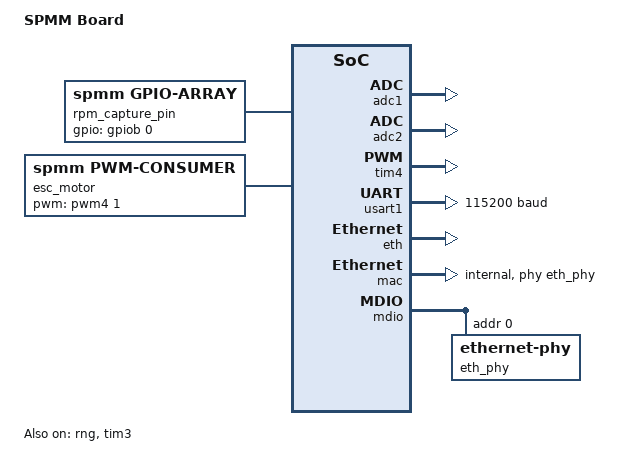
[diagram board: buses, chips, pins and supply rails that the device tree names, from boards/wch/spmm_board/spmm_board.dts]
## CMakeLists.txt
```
cmake_minimum_required(VERSION 3.20.0)
find_package(Zephyr REQUIRED HINTS $ENV{ZEPHYR_BASE})
project(SPMM)

# Aplicacao — threads diretas do Zephyr + shell nativo (SHELL_CMD_ARG_REGISTER),
# sem a camada OSSI/TCKEC/CMD da SIBA (SPMM e' provisorio: prioriza simplicidade).
target_sources(app PRIVATE
    src/main.c
    src/esc.c
    src/rpm.c
    src/acquisition.c
    src/telemetry.c
    src/shell_cmds.c
)

# Driver ADC out-of-tree — adicionado direto em `app` (linkado com
# --whole-archive) em vez de uma lib estatica separada. Uma lib separada nao
# entra na linha de link de zephyr_pre0.elf, entao o linker descarta
# adc_ch32v307.c e `adc1` acaba resolvendo para o driver upstream
# adc_ch32v00x.c (sincrono-only, sem .read_async → jalr por ponteiro NULL).
# Mesmo motivo/solucao da SIBA. Nao compila para native_sim (usa adc_emul).
if(NOT CONFIG_ARCH_POSIX)
    target_sources(app PRIVATE drivers/adc/adc_ch32v307.c)
endif()

target_include_directories(app PRIVATE src)
```

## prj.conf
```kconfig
# ====================================================================
# SPMM — Sistema Provisorio de Medicao Mecanica (CH32V307 + Zephyr)
# ====================================================================

# ---- Perifericos ----
CONFIG_GPIO=y
CONFIG_PINCTRL=y
CONFIG_PWM=y          # PWM de servo (TIM4 CH1) para o throttle do ESC
CONFIG_COUNTER=y      # (TIM3 usado via MMIO direto; mantido por consistencia)
CONFIG_REBOOT=y

# ---- ADC (correntes de fase) ----
CONFIG_ADC=y
CONFIG_ADC_ASYNC=y
CONFIG_ADC_LOG_LEVEL_DBG=n
# ATENCAO: o driver upstream adc_ch32v00x.c tambem casa com DT_DRV_COMPAT
# "wch,adc" e vence a ligacao com o no `adc1`, descartando nosso driver
# custom — e ele conflita com o registrador de Ethernet do CH32V307. Sem
# isso a Ethernet (Telnet + log UDP) quebra. Ver CLAUDE.md.
CONFIG_ADC_CH32V00X=n

# ---- Rede: Telnet (TCP) para o shell + UDP para o log ----
CONFIG_NETWORKING=y
CONFIG_NET_IPV4=y
CONFIG_NET_TCP=y
CONFIG_NET_UDP=y
CONFIG_NET_L2_ETHERNET=y
CONFIG_NET_SOCKETS=y
CONFIG_NET_CONFIG_SETTINGS=y
# IP da SPMM = 169.254.97.150 — NÃO colidir com a SAME (.100). Bate com o
# lado PC em Aplicacao_Pi/Config/SPMM.yaml (link.ip = .150).
CONFIG_NET_CONFIG_MY_IPV4_ADDR="169.254.97.150"
CONFIG_NET_CONFIG_PEER_IPV4_ADDR="169.254.97.139"

# ---- Shell por rede (Telnet) ----
CONFIG_SHELL=y
CONFIG_SHELL_BACKEND_TELNET=y
CONFIG_SHELL_BACKEND_SERIAL=n   # UART fica so para LOG local de debug

# ---- Reducao de FLASH (ROM ~90% cheia) ----
# O peso do shell nao e o parser em si, e as CONVENIENCIAS (textos de ajuda,
# historico, autocomplete, cores) + os modulos de comando EMBUTIDOS do Zephyr
# (net/device/kernel), que nao usamos. Removendo-os sobra flash sem perder os
# comandos de bancada (arm/throttle/coast/log...) nem o Telnet.
CONFIG_SHELL_HELP=n                 # remove os textos de ajuda (grande economia)
CONFIG_SHELL_HISTORY=n              # sem historico (setas cima/baixo)
CONFIG_SHELL_TAB=n                  # sem TAB
CONFIG_SHELL_TAB_AUTOCOMPLETION=n   # sem autocompletar
CONFIG_SHELL_VT100_COLORS=n         # sem cores ANSI
CONFIG_SHELL_METAKEYS=n             # sem atalhos Ctrl-*
CONFIG_SHELL_WILDCARD=n             # sem curinga
# Modulos de comando embutidos que NAO usamos (o 'net' costuma ser grande):
CONFIG_KERNEL_SHELL=n
CONFIG_DEVICE_SHELL=n
CONFIG_NET_SHELL=n

# ---- Console / LOG local (USART1) ----
CONFIG_CONSOLE=y
CONFIG_SERIAL=y
CONFIG_UART_CONSOLE=y
CONFIG_LOG=y
CONFIG_LOG_BACKEND_UART=y
CONFIG_LOG_DEFAULT_LEVEL=3
# LOG em modo minimo: usa printk direto (sincrono), sem o empacotamento
# deferido — bem menor em flash. Mantem LOG_INF/WRN/ERR funcionando.
CONFIG_LOG_MODE_MINIMAL=y
CONFIG_PRINTK=y

# ---- Float (Clarke/Park, Iq, %f nos prints) ----
CONFIG_FPU=y
CONFIG_CBPRINTF_FP_SUPPORT=y

# ---- Entropia / build ----
CONFIG_ENTROPY_GENERATOR=y
CONFIG_TEST_RANDOM_GENERATOR=y
CONFIG_BUILD_OUTPUT_BIN=y

CONFIG_HEAP_MEM_POOL_SIZE=8192
CONFIG_MAIN_STACK_SIZE=2048
```

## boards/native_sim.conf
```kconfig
# Overlay de Kconfig para `west build -b native_sim` (modo POSIX/mock).
# Sobrepoe prj.conf. Permite depurar a logica do shell, do parsing e do
# empacotamento UDP no PC, sem placa — ver CLAUDE.md "Copiar o setup de
# POSIX da SIBA".
#
# REDE: "Offloaded sockets" do Native Simulator (NSOS). zsock_socket/bind/
# sendto de telemetry.c sao redirecionados DIRETO para os sockets BSD do
# host Linux (127.0.0.1) — sem TAP, sem root, sem stack de rede do Zephyr.
# O firmware vira "mais um processo" no localhost e troca UDP de verdade
# com o script Python (scripts/spmm_bench.py).
CONFIG_ETH_NATIVE_TAP=n
CONFIG_NET_L2_ETHERNET=n
CONFIG_NET_DRIVERS=y
CONFIG_NETWORKING=y
CONFIG_NET_IPV4=y
CONFIG_NET_UDP=y
CONFIG_NET_TCP=y
CONFIG_NET_SOCKETS=y
CONFIG_NET_SOCKETS_OFFLOAD=y
CONFIG_NET_NATIVE_OFFLOADED_SOCKETS=y
CONFIG_NET_IPV6_DAD=n
CONFIG_NET_CONFIG_SETTINGS=y
CONFIG_NET_CONFIG_MY_IPV4_ADDR="127.0.0.1"
CONFIG_NET_CONFIG_PEER_IPV4_ADDR="127.0.0.1"
CONFIG_NET_CONFIG_NEED_IPV4=y

# Shell do Zephyr por backend "dummy" nao existe util aqui; em native_sim
# usamos o backend serial ligado ao stdin/stdout do host (-uart_stdinout).
# Assim os comandos de bancada (arm/throttle/coast/...) sao testaveis no
# terminal sem Telnet.
CONFIG_SHELL_BACKEND_TELNET=n
CONFIG_SHELL_BACKEND_SERIAL=y

# ADC emulado in-tree (ver native_sim.overlay). acquisition.c roda sem
# mudanca (API generica adc_channel_setup/adc_read_async).
CONFIG_ADC=y
CONFIG_ADC_ASYNC=y
CONFIG_ADC_EMUL=y

# ESC (PWM/TIM4) e RPM (Counter/TIM3) sao synthetic via #ifdef
# CONFIG_ARCH_POSIX nos modulos — sem driver de hardware aqui.
CONFIG_PWM=n
CONFIG_COUNTER=n

# PINCTRL so' existe para pinmux do SoC real (PWM/TIM). O native_sim nao
# tem pinctrl_soc.h; sem PWM aqui, o driver e' inutil e nao compila.
CONFIG_PINCTRL=n

# Float em LOG_*/shell_print e Clarke/Park precisam de FPU ligada; em
# native_sim ela nao vem por padrao (senao "%f" sai como texto literal).
CONFIG_FPU=y

# Em native_sim o board ja seleciona LOG_BACKEND_NATIVE_POSIX (stdout);
# desligar o backend de UART evita log duplicado competindo com o shell.
CONFIG_LOG_BACKEND_UART=n
```

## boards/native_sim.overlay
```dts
/*
 * Overlay de devicetree para `west build -b native_sim` (modo POSIX/mock).
 *
 * O driver custom adc_ch32v307 (MMIO+DMA do CH32V307) nao compila para
 * native_sim. Em vez de arrancar o ADC do codigo, damos um substituto
 * in-tree do Zephyr (zephyr,adc-emul) com o MESMO nodelabel `adc1` que o
 * spmm_board.dts usa — assim acquisition.c continua chamando
 * adc_channel_setup()/adc_read_async() SEM MUDANCA. 2 canais (Ia, Ib).
 *
 * ESC (PWM/TIM4) e RPM (TIM3, MMIO cru) nao tem equivalente in-tree
 * utilizavel em firmware normal (zephyr,fake-pwm depende do framework de
 * teste FFF; TIM3 e' MMIO em endereco fisico fixo). Esses dois ganham um
 * bloco `#ifdef CONFIG_ARCH_POSIX` synthetic dentro do proprio modulo
 * (esc.c / rpm.c) — mesma estrategia da SIBA.
 */

/ {
    adc1: adc_emul_1 {
        compatible = "zephyr,adc-emul";
        nchannels = <2>;
        ref-internal-mv = <3300>;
        #io-channel-cells = <1>;
        status = "okay";
    };
};
```

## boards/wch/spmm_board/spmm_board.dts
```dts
/dts-v1/;
#include <wch/ch32v307/ch32v307vc.dtsi>
#include <zephyr/dt-bindings/gpio/gpio.h>
#include <zephyr/dt-bindings/pinctrl/ch32v20x_30x-pinctrl.h>
#include <zephyr/dt-bindings/pwm/pwm.h>
#include <zephyr/dt-bindings/clock/ch32v20x_30x-clocks.h>

#define CH32V20X_V30X_PINMUX_ADC1_RM 0

/ {
    model = "SPMM Board";
    compatible = "wch,ch32v307";

    chosen {
        zephyr,sram    = &sram0;
        zephyr,flash   = &flash0;
        zephyr,console = &usart1;   /* LOG local para debug de bancada */
    };

    /* ==================================================================
     * MEDICAO COMPLETA — 3 correntes + 3 tensoes de fase (dq real)
     *
     * ADC1 (DMA1 canal 1): correntes de fase
     *   idx 0 -> CH0 / PA0 : Ia
     *   idx 1 -> CH1 / PA1 : Ib
     *   idx 2 -> CH2 / PA2 : Ic
     * ADC2 (DMA1 canal 2): tensoes de fase (para estimar theta_e -> Park)
     *   idx 0 -> CH3 / PA3 : Va
     *   idx 1 -> CH4 / PA4 : Vb
     *   idx 2 -> CH5 / PA5 : Vc
     *
     * Driver custom adc_ch32v307 (NAO o padrao, que conflita com a Ethernet).
     * O driver suporta 2 instancias (ADC1 base 0x40012400, ADC2 base
     * 0x40012800), cada uma com seu proprio canal DMA1.
     *
     * >>> RISCO DE HARDWARE (validar na bancada) <<<
     * Em silicio estilo F103, o ADC2 normalmente NAO possui request de DMA
     * proprio (so ADC1). Se o ADC2 do CH32V307 nao disparar DMA1-ch2, o
     * scan de tensao nao avanca e sera preciso: (a) migrar as tensoes para
     * o ADC1 (6 canais num scan so), ou (b) usar dual-mode simultaneo. Ver
     * CLAUDE.md. As correntes (ADC1) funcionam independentemente disso.
     * ================================================================== */
    adc1: adc@40012400 {
        compatible = "wch,adc";
        reg = <0x40012400 0x400>;
        clocks = <&rcc CH32V20X_V30X_CLOCK_ADC1>;
        interrupt-parent = <&pfic>;
        interrupts = <34>;
        dmas = <&dma1 1>;
        dma-names = "rx";
        pinctrl-0 = <&adc1_default>;
        pinctrl-names = "default";
        status = "okay";
        #io-channel-cells = <1>;
    };

    adc2: adc@40012800 {
        compatible = "wch,adc";
        reg = <0x40012800 0x400>;
        clocks = <&rcc CH32V20X_V30X_CLOCK_ADC2>;
        interrupt-parent = <&pfic>;
        interrupts = <34>;          /* ADC1_2 compartilham a IRQ; driver usa a do DMA */
        dmas = <&dma1 2>;
        dma-names = "rx";
        pinctrl-0 = <&adc2_default>;
        pinctrl-names = "default";
        status = "okay";
        #io-channel-cells = <1>;
    };

    /* ==================================================================
     * TIM3 CH3 (PB0) — input capture do sensor de rotacao
     *   14 polos -> 7 pulsos/volta (Hall) ou disco optico
     * ================================================================== */
    tim3: timer@40000400 {
        compatible = "wch,gptm";
        reg = <0x40000400 0x400>;
        clocks = <&rcc CH32V20X_V30X_CLOCK_TIM3>;
        interrupt-parent = <&pfic>;
        interrupts = <45>;
        channels = <4>;
        status = "okay";
        prescaler = <0>;
    };

    rpm_capture_pin: rpm-capture-pin {
        compatible = "spmm,gpio-array";
        gpios = <&gpiob 0 GPIO_ACTIVE_HIGH>;
    };

    /* ==================================================================
     * TIM4 CH1 (PB6) — PWM de SERVO para o throttle do ESC
     *   Periodo 20ms (50Hz), pulso 1000-2000us (padrao RC).
     *   prescaler=143 -> 1 tick = 2us @ 72MHz (base de servo, NAO potencia)
     * ================================================================== */
    tim4: timer@40000800 {
        compatible = "wch,gptm";
        reg = <0x40000800 0x400>;
        clocks = <&rcc CH32V20X_V30X_CLOCK_TIM4>;
        interrupt-parent = <&pfic>;
        interrupts = <46>;
        channels = <4>;
        prescaler = <143>;
        status = "okay";

        pwm4: pwm {
            compatible = "wch,gptm-pwm";
            #pwm-cells = <3>;
            pinctrl-0 = <&tim4_ch1_default>;
            pinctrl-names = "default";
            status = "okay";
        };
    };

    esc_motor: esc-motor {
        compatible = "spmm,pwm-consumer";
        pwms = <&pwm4 1 PWM_USEC(20000) PWM_POLARITY_NORMAL>;
    };
};

/* ==================================================================== *
 * PINCTRL                                                               *
 * ==================================================================== */

&pinctrl {

    adc1_default: adc1_default {
        group1 {
            pinmux = <CH32V20X_V30X_PINMUX_DEFINE(PA, 0, ADC1, 0)>;   /* CH0 - Ia */
        };
        group2 {
            pinmux = <CH32V20X_V30X_PINMUX_DEFINE(PA, 1, ADC1, 0)>;   /* CH1 - Ib */
        };
        group3 {
            pinmux = <CH32V20X_V30X_PINMUX_DEFINE(PA, 2, ADC1, 0)>;   /* CH2 - Ic */
        };
    };

    adc2_default: adc2_default {
        group1 {
            pinmux = <CH32V20X_V30X_PINMUX_DEFINE(PA, 3, ADC1, 0)>;   /* CH3 - Va */
        };
        group2 {
            pinmux = <CH32V20X_V30X_PINMUX_DEFINE(PA, 4, ADC1, 0)>;   /* CH4 - Vb */
        };
        group3 {
            pinmux = <CH32V20X_V30X_PINMUX_DEFINE(PA, 5, ADC1, 0)>;   /* CH5 - Vc */
        };
    };

    usart1_default: usart1_default {
        group1 {
            pinmux = <USART1_TX_PA9_0>;
            output-high;
            drive-push-pull;
            slew-rate = "max-speed-10mhz";
        };
        group2 {
            pinmux = <USART1_RX_PA10_0>;
            bias-pull-up;
        };
    };

    tim4_ch1_default: tim4_ch1_default {
        group1 {
            pinmux = <CH32V20X_V30X_PINMUX_DEFINE(PB, 6, TIM4, 0)>;
            drive-push-pull;
            slew-rate = "max-speed-50mhz";
        };
    };

    mac_default: mac_default {
        mac_internal_rxp {
            pinmux = <CH32V20X_V30X_PINMUX_DEFINE(PC, 6, ETH, 0)>;
            slew-rate = "max-speed-50mhz";
        };
        mac_internal_rxn {
            pinmux = <CH32V20X_V30X_PINMUX_DEFINE(PC, 7, ETH, 0)>;
            slew-rate = "max-speed-50mhz";
        };
        mac_internal_txp {
            pinmux = <CH32V20X_V30X_PINMUX_DEFINE(PC, 8, ETH, 0)>;
            slew-rate = "max-speed-50mhz";
        };
        mac_internal_txn {
            pinmux = <CH32V20X_V30X_PINMUX_DEFINE(PC, 9, ETH, 0)>;
            slew-rate = "max-speed-50mhz";
        };
    };

    mdio_default: mdio_default {
        /* PHY interno - sem pinos MDIO externos necessarios */
    };
};

/* ==================================================================== *
 * CLOCKS / GPIO / PERIFERICOS                                           *
 * ==================================================================== */

&clk_hse { status = "okay"; };
&pll     { clocks = <&clk_hse>; status = "okay"; };
&rcc     { clocks = <&pll>; };

&gpioa { status = "okay"; };
&gpiob { status = "okay"; };
&gpioc { status = "okay"; };

/* dma1 fica "disabled" como CONTROLLER GENERICO Zephyr (dma_wch.c): o driver
 * custom adc_ch32v307.c NAO usa a API generica de DMA (faz MMIO direto), so
 * precisa da celula "channel" de `dmas = <&dma1 1>` (resolvida em compile
 * time). Deixar dma1 "okay" faria dma_wch e adc_ch32v307 disputarem a mesma
 * IRQ do canal 1 = conflito. Ver comentario identico na SIBA. */
&dma1 { status = "disabled"; };

&usart1 {
    status = "okay";
    current-speed = <115200>;
    pinctrl-0 = <&usart1_default>;
    pinctrl-names = "default";
};

/* Ethernet interno (Telnet + log UDP). FIXES herdados da SIBA:
 *  - &eth okay: habilita o controller pai (sobe o clock do MAC).
 *  - local-mac-address fixo: evita leitura da OTP (que, zerada, trava o boot).
 *  - internal-phy-pllmul/prediv: HSE 8MHz / prediv2=2 * pllmul=15 = 60MHz. */
&eth  { status = "okay"; };

&mac {
    status = "okay";
    pinctrl-0 = <&mac_default>;
    pinctrl-names = "default";
    phy-connection-type = "internal";
    phy-handle = <&eth_phy>;
    local-mac-address = [02 00 00 05 02 07];
    internal-phy-pllmul = "15";
    internal-phy-prediv = "2";
};

&mdio {
    status = "okay";
    pinctrl-0 = <&mdio_default>;
    pinctrl-names = "default";
    eth_phy: ethernet-phy@0 {
        compatible = "ethernet-phy";
        reg = <0x00>;
    };
};

&rng { status = "okay"; };

&sram0  { reg = <0x20000000 DT_SIZE_K(128)>; };
&flash0 { reg = <0x08000000 DT_SIZE_K(198)>; };
```

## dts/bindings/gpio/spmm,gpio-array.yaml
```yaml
description: |
  Lista genérica de linhas GPIO usada por periféricos bit-bang (ex.: HX711),
  onde cada índice do array corresponde a um pino físico específico.

compatible: "spmm,gpio-array"

properties:
  gpios:
    type: phandle-array
    required: true
    description: Lista ordenada de especificadores de GPIO
```

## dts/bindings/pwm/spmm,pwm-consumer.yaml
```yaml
description: |
  Consumidor genérico de um único canal PWM (ex.: ESC do propulsor).

compatible: "spmm,pwm-consumer"

properties:
  pwms:
    type: phandle-array
    required: true
    description: Especificador do canal PWM (controlador, canal, período, polaridade)
```

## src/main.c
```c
/**
 * @file main.c
 * @brief SPMM — ponto de entrada: inicializa os periféricos e sobe as
 * threads de bancada.
 *
 * Threads: Aquisição (prio 4, alta), RPM (prio 6, média), Telemetria
 * (prio 7, baixa), Shell/Telnet (gerida pelo subsistema SHELL do Zephyr,
 * comandos em shell_cmds.c).
 */
#include "spmm.h"
#include <zephyr/kernel.h>
#include <zephyr/logging/log.h>

LOG_MODULE_REGISTER(main, LOG_LEVEL_INF);

/**
 * @brief Inicializa ESC/RPM/Aquisição/Telemetria e sobe as threads de
 * aquisição e RPM (telemetria já cria a sua própria em telemetry_init).
 * @return 0 sempre (Zephyr chama main() uma vez e segue no scheduler)
 */
int main(void)
{
    LOG_INF("=== SPMM — Sistema Provisorio de Medicao Mecanica ===");

    if (esc_init() != 0)         LOG_ERR("falha init ESC");
    if (rpm_init() != 0)         LOG_ERR("falha init RPM");
    if (acquisition_init() != 0) LOG_ERR("falha init aquisicao");
    if (telemetry_init() != 0)   LOG_ERR("falha init telemetria");

    acquisition_start();
    rpm_start();
    /* telemetry_init ja cria a thread (dorme ate 'log start') */

    LOG_INF("SPMM pronto. Shell de bancada via Telnet (porta 23).");
    return 0;
}
```

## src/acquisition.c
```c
/**
 * @file acquisition.c
 * @brief Medição completa das fases: ADC1=Ia,Ib,Ic, ADC2=Va,Vb,Vc.
 *
 * Pipeline: Clarke nas tensões -> theta_e=atan2(Vbeta,Valpha) (dá o ângulo
 * elétrico, já que só há sensor de rotação); Clarke nas correntes; Park com
 * theta_e -> Id,Iq; Iq filtrado (EMA) -> Te=KT*Iq. Prioridade alta, nunca
 * preemptada pelo shell/telemetria. native_sim sintetiza as 6 fases.
 */
#include "spmm.h"
#include <zephyr/kernel.h>
#include <zephyr/logging/log.h>

LOG_MODULE_REGISTER(acq, LOG_LEVEL_INF);

#define ACQ_STACK_SIZE 2048
#define ACQ_PRIORITY   4           /* ALTA — acima de rpm(6)/telemetria(7)     */
#define ACQ_PERIOD_MS  1           /* ~1 kHz de atualizacao                    */

static K_THREAD_STACK_DEFINE(acq_stack, ACQ_STACK_SIZE);
static struct k_thread acq_thread;

/* Ultima medida completa + Iq filtrado, protegidos por spinlock */
static struct k_spinlock  meas_lock;
static spmm_meas_t        g_meas;
static float              iq_filt;

/**
 * @brief Copia coerente da última medida completa (thread-safe).
 * @param out [out] destino da cópia
 */
void spmm_get_meas(spmm_meas_t *out)
{
    k_spinlock_key_t key = k_spin_lock(&meas_lock);
    *out = g_meas;
    k_spin_unlock(&meas_lock, key);
}

/** @brief Iq médio filtrado (EMA). @return corrente de torque em A. */
float spmm_get_iq(void)
{
    k_spinlock_key_t key = k_spin_lock(&meas_lock);
    float v = iq_filt;
    k_spin_unlock(&meas_lock, key);
    return v;
}

/** @brief Torque eletromagnético estimado. @return Te = KT*Iq, em N.m. */
float spmm_get_te(void) { return SPMM_KT * spmm_get_iq(); }

/**
 * @brief Clarke invariante em amplitude, sem assumir neutro (Xc é medido).
 * @param xa, xb, xc grandezas de fase (corrente ou tensão)
 * @param xal, xbe [out] componentes alpha/beta
 */
static inline void clarke(float xa, float xb, float xc, float *xal, float *xbe)
{
    *xal = (2.0f * xa - xb - xc) * (1.0f / 3.0f);
    *xbe = (xb - xc) * (1.0f / 1.7320508f);   /* 1/sqrt(3) */
}

/**
 * @brief Núcleo do processamento (Clarke+Park+filtro Iq), comum à placa
 * real e ao native_sim. Atualiza g_meas/iq_filt sob spinlock.
 * @param ia, ib, ic correntes de fase (A)
 * @param va, vb, vc tensões de fase (V)
 */
static void process_measurement(float ia, float ib, float ic,
                                float va, float vb, float vc)
{
    float val, vbe, ial, ibe;
    clarke(va, vb, vc, &val, &vbe);
    clarke(ia, ib, ic, &ial, &ibe);

    float theta_e = atan2f(vbe, val) + SPMM_THETA_OFFSET_RAD;
    float ct = cosf(theta_e), st = sinf(theta_e);

    float id =  ial * ct + ibe * st;
    float iq = -ial * st + ibe * ct;

    k_spinlock_key_t key = k_spin_lock(&meas_lock);
    iq_filt += SPMM_IQ_FILTER_ALPHA * (iq - iq_filt);
    g_meas.ia = ia; g_meas.ib = ib; g_meas.ic = ic;
    g_meas.va = va; g_meas.vb = vb; g_meas.vc = vc;
    g_meas.id = id; g_meas.iq = iq_filt;
    g_meas.theta_e = theta_e;
    k_spin_unlock(&meas_lock, key);
}

/** @brief Converte contagem bruta do ADC em tensão no pino (mV).
 * @param raw contagem bruta @return mV */
static inline float raw_to_mv(uint16_t raw)
{
    return (float)raw * (float)SPMM_ADC_VREF_MV / (float)SPMM_ADC_FULL_SCALE;
}
/** @brief Converte mV no pino em corrente calibrada. @param mv tensão no pino
 * @return A (provisório — calibrar na bancada) */
static inline float mv_to_amp(float mv)  { return (mv - SPMM_I_OFFSET_MV) * SPMM_I_AMPS_PER_MV; }
/** @brief Converte mV no pino em tensão de fase calibrada. @param mv tensão
 * no pino @return V (provisório — calibrar na bancada) */
static inline float mv_to_volt(float mv) { return mv * SPMM_V_VOLTS_PER_MV; }

#ifndef CONFIG_ARCH_POSIX
/* -------------------- Placa real: ADC1 (I) + ADC2 (V) via DMA ----------- */
#include <zephyr/drivers/adc.h>

static const struct device *adc1 = DEVICE_DT_GET(DT_NODELABEL(adc1));
static const struct device *adc2 = DEVICE_DT_GET(DT_NODELABEL(adc2));

static uint16_t buf_i[SPMM_ADC_NUM_CH];   /* Ia,Ib,Ic (ordem de canal)        */
static uint16_t buf_v[SPMM_ADC_NUM_CH];   /* Va,Vb,Vc                         */

static const struct adc_channel_cfg cfg_i[SPMM_ADC_NUM_CH] = {
    { .gain = ADC_GAIN_1, .reference = ADC_REF_INTERNAL,
      .acquisition_time = ADC_ACQ_TIME_DEFAULT, .channel_id = SPMM_ADC1_CH_IA },
    { .gain = ADC_GAIN_1, .reference = ADC_REF_INTERNAL,
      .acquisition_time = ADC_ACQ_TIME_DEFAULT, .channel_id = SPMM_ADC1_CH_IB },
    { .gain = ADC_GAIN_1, .reference = ADC_REF_INTERNAL,
      .acquisition_time = ADC_ACQ_TIME_DEFAULT, .channel_id = SPMM_ADC1_CH_IC },
};
static const struct adc_channel_cfg cfg_v[SPMM_ADC_NUM_CH] = {
    { .gain = ADC_GAIN_1, .reference = ADC_REF_INTERNAL,
      .acquisition_time = ADC_ACQ_TIME_DEFAULT, .channel_id = SPMM_ADC2_CH_VA },
    { .gain = ADC_GAIN_1, .reference = ADC_REF_INTERNAL,
      .acquisition_time = ADC_ACQ_TIME_DEFAULT, .channel_id = SPMM_ADC2_CH_VB },
    { .gain = ADC_GAIN_1, .reference = ADC_REF_INTERNAL,
      .acquisition_time = ADC_ACQ_TIME_DEFAULT, .channel_id = SPMM_ADC2_CH_VC },
};

static struct adc_sequence seq_i = {
    .channels    = BIT(SPMM_ADC1_CH_IA) | BIT(SPMM_ADC1_CH_IB) | BIT(SPMM_ADC1_CH_IC),
    .buffer      = buf_i, .buffer_size = sizeof(buf_i), .resolution = SPMM_ADC_RESOLUTION,
};
static struct adc_sequence seq_v = {
    .channels    = BIT(SPMM_ADC2_CH_VA) | BIT(SPMM_ADC2_CH_VB) | BIT(SPMM_ADC2_CH_VC),
    .buffer      = buf_v, .buffer_size = sizeof(buf_v), .resolution = SPMM_ADC_RESOLUTION,
};

/**
 * @brief Configura ADC1 (correntes) e ADC2 (tensões, best-effort).
 * @return 0 em sucesso, -ENODEV se ADC1 não estiver pronto
 */
int acquisition_init(void)
{
    if (!device_is_ready(adc1)) { LOG_ERR("ADC1 nao pronto"); return -ENODEV; }
    if (!device_is_ready(adc2)) {
        /* ADC2 pode falhar se o silicio nao rotear DMA — currents seguem OK */
        LOG_WRN("ADC2 nao pronto — tensoes indisponiveis (ver risco no DTS)");
    }
    for (int i = 0; i < SPMM_ADC_NUM_CH; i++) {
        int r = adc_channel_setup(adc1, &cfg_i[i]);
        if (r) { LOG_ERR("ADC1 ch%d setup: %d", i, r); return r; }
    }
    if (device_is_ready(adc2)) {
        for (int i = 0; i < SPMM_ADC_NUM_CH; i++) {
            int r = adc_channel_setup(adc2, &cfg_v[i]);
            if (r) { LOG_ERR("ADC2 ch%d setup: %d", i, r); return r; }
        }
    }
    LOG_INF("Aquisicao: ADC1(3 correntes) + ADC2(3 tensoes) configurados");
    return 0;
}

/**
 * @brief Dispara uma conversão assíncrona e bloqueia até terminar (ou 50ms).
 * @param dev instância do ADC
 * @param seq sequência a ler
 * @return 0 em sucesso, -EIO ou -ETIMEDOUT
 */
static int adc_read_signal(const struct device *dev, struct adc_sequence *seq)
{
    struct k_poll_signal sig;
    struct k_poll_event  evt;
    k_poll_signal_init(&sig);
    k_poll_event_init(&evt, K_POLL_TYPE_SIGNAL, K_POLL_MODE_NOTIFY_ONLY, &sig);
    if (adc_read_async(dev, seq, &sig) != 0) return -EIO;
    if (k_poll(&evt, 1, K_MSEC(50)) == -EAGAIN) return -ETIMEDOUT;
    return 0;
}

/**
 * @brief Thread de aquisição (hardware): lê os 2 ADCs, converte e roda
 * process_measurement a ~1 kHz. Nunca retorna.
 * @param p1, p2, p3 não usados (assinatura exigida por k_thread_create)
 */
static void acq_thread_fn(void *p1, void *p2, void *p3)
{
    ARG_UNUSED(p1); ARG_UNUSED(p2); ARG_UNUSED(p3);
    bool have_v = device_is_ready(adc2);
    LOG_INF("Aquisicao: thread iniciada");
    while (1) {
        if (adc_read_signal(adc1, &seq_i) != 0) { k_sleep(K_MSEC(5)); continue; }
        if (have_v) { (void)adc_read_signal(adc2, &seq_v); }

        float ia = mv_to_amp(raw_to_mv(buf_i[SPMM_ADC_IDX_A]));
        float ib = mv_to_amp(raw_to_mv(buf_i[SPMM_ADC_IDX_B]));
        float ic = mv_to_amp(raw_to_mv(buf_i[SPMM_ADC_IDX_C]));
        float va = have_v ? mv_to_volt(raw_to_mv(buf_v[SPMM_ADC_IDX_A])) : 0.0f;
        float vb = have_v ? mv_to_volt(raw_to_mv(buf_v[SPMM_ADC_IDX_B])) : 0.0f;
        float vc = have_v ? mv_to_volt(raw_to_mv(buf_v[SPMM_ADC_IDX_C])) : 0.0f;

        process_measurement(ia, ib, ic, va, vb, vc);
        k_sleep(K_MSEC(ACQ_PERIOD_MS));
    }
}

#else /* CONFIG_ARCH_POSIX — sintetiza as 6 fases e usa o MESMO pipeline */

/** @brief native_sim: stub (fases sintetizadas a partir de omega). @return sempre 0. */
int acquisition_init(void)
{
    LOG_INF("Aquisicao: modo synthetic (native_sim) — fases geradas de omega");
    return 0;
}

/**
 * @brief Thread de aquisição (native_sim): sintetiza as 6 fases a partir
 * de omega e roda o mesmo process_measurement da placa real. Nunca retorna.
 * @param p1, p2, p3 não usados (assinatura exigida por k_thread_create)
 */
static void acq_thread_fn(void *p1, void *p2, void *p3)
{
    ARG_UNUSED(p1); ARG_UNUSED(p2); ARG_UNUSED(p3);
    LOG_INF("Aquisicao: thread synthetic iniciada");
    float theta = 0.0f;
    const float dt = ACQ_PERIOD_MS * 1e-3f;
    const float TWO_PI_3 = 2.0f * (float)M_PI / 3.0f;
    while (1) {
        float omega = spmm_get_omega();
        float we    = omega * (float)SPMM_POLE_PAIRS;   /* rad/s eletrico      */
        theta += we * dt;
        if (theta > 2.0f * (float)M_PI) theta -= 2.0f * (float)M_PI;

        float imag = 0.2f + 0.0004f * omega;            /* carga cresce com w   */
        float vmag = 0.05f * omega + 0.5f;              /* back-EMF ~ w         */
        /* corrente atrasa a tensao de um angulo de carga fixo (~15 graus) */
        float load = 0.26f;
        float ia = imag * cosf(theta - load);
        float ib = imag * cosf(theta - load - TWO_PI_3);
        float ic = imag * cosf(theta - load + TWO_PI_3);
        float va = vmag * cosf(theta);
        float vb = vmag * cosf(theta - TWO_PI_3);
        float vc = vmag * cosf(theta + TWO_PI_3);

        process_measurement(ia, ib, ic, va, vb, vc);
        k_sleep(K_MSEC(ACQ_PERIOD_MS));
    }
}
#endif /* CONFIG_ARCH_POSIX */

/** @brief Cria a thread de aquisição (prioridade alta). */
void acquisition_start(void)
{
    k_thread_create(&acq_thread, acq_stack, ACQ_STACK_SIZE,
                    acq_thread_fn, NULL, NULL, NULL,
                    ACQ_PRIORITY, 0, K_NO_WAIT);
    k_thread_name_set(&acq_thread, "acq");
}
```

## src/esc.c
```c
/**
 * @file esc.c
 * @brief ESC — PWM de servo (TIM4 CH1/PB6) para o throttle do ESC comercial.
 *
 * O SPMM não gera PWM trifásico; só comanda o throttle (1000-2000us @ 50Hz).
 * Reaproveita o padrão de PWM da SIBA, reconfigurado pra servo. Em
 * native_sim não há TIM4 -> throttle synthetic (só guarda o valor, pra
 * rpm.c/acquisition.c "seguirem" o throttle).
 */
#include "spmm.h"
#include <zephyr/kernel.h>
#include <zephyr/logging/log.h>

LOG_MODULE_REGISTER(esc, LOG_LEVEL_INF);

static bool     esc_armed;
static uint32_t esc_throttle_us = SPMM_ESC_MIN_US;

/** @brief Último throttle aplicado. @return valor em µs (1000-2000). */
uint32_t esc_get_throttle_us(void) { return esc_throttle_us; }

#ifndef CONFIG_ARCH_POSIX
/* -------------------- Placa real: TIM4/PWM via API generica -------------- */
#include <zephyr/drivers/pwm.h>

static const struct pwm_dt_spec esc_pwm = PWM_DT_SPEC_GET(DT_NODELABEL(esc_motor));

/** @brief Aplica um pulso em µs no PWM do ESC. @param us largura do pulso.
 * @return 0 em sucesso, erro do pwm_set_dt */
static int esc_apply_us(uint32_t us)
{
    return pwm_set_dt(&esc_pwm, PWM_USEC(SPMM_ESC_PERIOD_US), PWM_USEC(us));
}

/**
 * @brief Inicializa o PWM do ESC em posição de disarm.
 * @return 0 em sucesso, -ENODEV se o PWM não estiver pronto
 */
int esc_init(void)
{
    if (!pwm_is_ready_dt(&esc_pwm)) {
        LOG_ERR("ESC PWM nao pronto");
        return -ENODEV;
    }
    esc_armed = false;
    esc_throttle_us = SPMM_ESC_ARM_US;
    int r = esc_apply_us(SPMM_ESC_ARM_US);
    LOG_INF("ESC: PWM servo inicializado (%dus)", SPMM_ESC_ARM_US);
    return r;
}
#else
/* -------------------- native_sim: throttle synthetic -------------------- */
/** @brief native_sim: stub (sem PWM real). @param us não usado. @return sempre 0. */
static int esc_apply_us(uint32_t us) { ARG_UNUSED(us); return 0; }

/** @brief native_sim: inicializa o estado sem PWM real. @return sempre 0. */
int esc_init(void)
{
    esc_armed = false;
    esc_throttle_us = SPMM_ESC_ARM_US;
    LOG_INF("ESC: modo synthetic (native_sim) — sem TIM4");
    return 0;
}
#endif /* CONFIG_ARCH_POSIX */

/** @brief Sequência de arm: pulso mínimo por 2s (padrão dos ESCs RC). */
void esc_arm(void)
{
    esc_throttle_us = SPMM_ESC_MIN_US;
    esc_apply_us(SPMM_ESC_MIN_US);
    k_sleep(K_MSEC(2000));
    esc_armed = true;
    LOG_INF("ESC: armado");
}

/** @brief Desarma o ESC, voltando ao pulso de disarm. */
void esc_disarm(void)
{
    esc_throttle_us = SPMM_ESC_ARM_US;
    esc_apply_us(SPMM_ESC_ARM_US);
    esc_armed = false;
    LOG_INF("ESC: desarmado");
}

/**
 * @brief Aplica um throttle, se armado.
 * @param us largura do pulso desejada; clampada em [SPMM_ESC_MIN_US, SPMM_ESC_MAX_US]
 * @return 0 em sucesso, -EPERM se não armado
 */
int esc_set_throttle_us(uint32_t us)
{
    if (!esc_armed) {
        LOG_WRN("ESC: throttle ignorado — nao armado");
        return -EPERM;
    }
    if (us < SPMM_ESC_MIN_US) us = SPMM_ESC_MIN_US;
    if (us > SPMM_ESC_MAX_US) us = SPMM_ESC_MAX_US;
    esc_throttle_us = us;
    return esc_apply_us(us);
}

/**
 * @brief Rampa suave de throttle até target_us, em `secs` segundos (20
 * passos/s), evitando degrau brusco no ESC.
 * @param target_us destino (clampado em [SPMM_ESC_MIN_US, SPMM_ESC_MAX_US])
 * @param secs duração da rampa; 0 aplica o valor direto
 * @return 0 em sucesso, -EPERM se não armado
 */
int esc_ramp_us(uint32_t target_us, uint32_t secs)
{
    if (!esc_armed) {
        LOG_WRN("ESC: ramp ignorado — nao armado");
        return -EPERM;
    }
    if (target_us < SPMM_ESC_MIN_US) target_us = SPMM_ESC_MIN_US;
    if (target_us > SPMM_ESC_MAX_US) target_us = SPMM_ESC_MAX_US;
    if (secs == 0) return esc_set_throttle_us(target_us);

    const uint32_t steps    = secs * 20U;          /* 20 passos/s (50ms)       */
    const int32_t  start_us = (int32_t)esc_throttle_us;
    const int32_t  delta    = (int32_t)target_us - start_us;

    for (uint32_t i = 1; i <= steps; i++) {
        int32_t us = start_us + (delta * (int32_t)i) / (int32_t)steps;
        esc_set_throttle_us((uint32_t)us);
        k_sleep(K_MSEC(50));
    }
    return esc_set_throttle_us(target_us);
}
```

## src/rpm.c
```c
/**
 * @file rpm.c
 * @brief RPM — Input Capture (TIM3 CH3/PB0), sensor independente do
 * acionamento (14 pólos -> 7 pulsos/volta), necessário no coast-down onde
 * o ZCP some. Conta pulsos numa janela fixa (SPMM_RPM_SAMPLE_MS) via ISR e
 * converte pra RPM. native_sim sintetiza omega perseguindo o throttle do ESC.
 */
#include "spmm.h"
#include <zephyr/kernel.h>
#include <zephyr/logging/log.h>

LOG_MODULE_REGISTER(rpm, LOG_LEVEL_INF);

/* rpm_milli = RPM * 1000, consultado por spmm_get_rpm/omega */
static atomic_t rpm_milli;

/** @brief Última rotação medida. @return rpm mecânico. */
float spmm_get_rpm(void)   { return (float)atomic_get(&rpm_milli) / 1000.0f; }
/** @brief Última rotação medida, em rad/s. @return omega mecânico. */
float spmm_get_omega(void) { return spmm_rpm_to_rads(spmm_get_rpm()); }

#define RPM_STACK_SIZE 1024
#define RPM_PRIORITY   6           /* MEDIA — abaixo da aquisicao (ver main.c) */
static K_THREAD_STACK_DEFINE(rpm_stack, RPM_STACK_SIZE);
static struct k_thread rpm_thread;

/**
 * @brief Converte a contagem de pulsos da janela em RPM e publica em rpm_milli.
 * @param pulses pulsos contados em SPMM_RPM_SAMPLE_MS
 */
static inline void rpm_publish(uint32_t pulses)
{
    /* RPM = (pulsos / pulsos_por_volta) * (60000 / janela_ms) */
    float rpm = ((float)pulses / (float)SPMM_RPM_PULSES_PER_REV)
                * (60000.0f / (float)SPMM_RPM_SAMPLE_MS);
    atomic_set(&rpm_milli, (atomic_val_t)(rpm * 1000.0f));
}

#ifndef CONFIG_ARCH_POSIX
/* -------------------- Placa real: TIM3 via MMIO direto ------------------ */
#include <zephyr/drivers/gpio.h>
#include <zephyr/irq.h>

#define TIM3_BASE        0x40000400UL
#define TIM3_INTFR       (*(volatile uint32_t *)(TIM3_BASE + 0x10))
#define TIM3_CHCTLR2     (*(volatile uint32_t *)(TIM3_BASE + 0x1C))
#define TIM3_CCER        (*(volatile uint32_t *)(TIM3_BASE + 0x20))
#define TIM3_PSC         (*(volatile uint32_t *)(TIM3_BASE + 0x28))
#define TIM3_ATRLR       (*(volatile uint32_t *)(TIM3_BASE + 0x2C))
#define TIM3_CH3CVR      (*(volatile uint32_t *)(TIM3_BASE + 0x3C))
#define TIM3_DMAINTENR   (*(volatile uint32_t *)(TIM3_BASE + 0x0C))
#define TIM3_CTLR1       (*(volatile uint32_t *)(TIM3_BASE + 0x00))

#define RCC_APB1PCENR    (*(volatile uint32_t *)(0x40021000UL + 0x1C))
#define RCC_APB1_TIM3EN  (1UL << 1)

#define TIM_CC3S_IC3_TI3 (1UL << 0)   /* CHCTLR2.CC3S = 01: IC3 mapeado em TI3 */
#define TIM_CCER_CC3E    (1UL << 8)
#define TIM_CCER_CC3P    (1UL << 9)   /* 0 = captura na borda de subida       */
#define TIM_DIER_CC3IE   (1UL << 3)
#define TIM_SR_CC3IF     (1UL << 3)
#define TIM_CTLR1_CEN    (1UL << 0)
#define TIM_CTLR1_ARPE   (1UL << 7)
#define TIM3_IRQN        45

#define RPM_GPIO_NODE DT_NODELABEL(rpm_capture_pin)
static const struct gpio_dt_spec rpm_pin =
    GPIO_DT_SPEC_GET_BY_IDX(RPM_GPIO_NODE, gpios, 0);

static atomic_t pulse_count;   /* incrementado na ISR a cada captura */

/**
 * @brief ISR de input capture do TIM3 CH3: limpa a flag e conta 1 pulso.
 * @param arg não usado
 */
static void tim3_capture_isr(const void *arg)
{
    ARG_UNUSED(arg);
    if (TIM3_INTFR & TIM_SR_CC3IF) {
        (void)TIM3_CH3CVR;             /* leitura limpa overcapture (CC3OF)   */
        TIM3_INTFR &= ~TIM_SR_CC3IF;   /* limpa flag de captura               */
        atomic_inc(&pulse_count);
    }
}

/**
 * @brief Configura o GPIO PB0 e o TIM3 CH3 em input capture, e conecta a ISR.
 * @return 0 em sucesso, erro do gpio_pin_configure_dt
 */
int rpm_init(void)
{
    int err = gpio_pin_configure_dt(&rpm_pin, GPIO_INPUT);
    if (err) {
        LOG_ERR("RPM: GPIO PB0 falhou (%d)", err);
        return err;
    }
    RCC_APB1PCENR |= RCC_APB1_TIM3EN;

    TIM3_CTLR1     = 0;
    TIM3_PSC       = 0;
    TIM3_ATRLR     = 0xFFFF;
    TIM3_CHCTLR2   = (TIM3_CHCTLR2 & ~0x3u) | TIM_CC3S_IC3_TI3;
    TIM3_CCER      = (TIM3_CCER & ~(TIM_CCER_CC3E | TIM_CCER_CC3P)) | TIM_CCER_CC3E;
    TIM3_DMAINTENR |= TIM_DIER_CC3IE;
    TIM3_INTFR     = 0;
    TIM3_CTLR1     = TIM_CTLR1_ARPE | TIM_CTLR1_CEN;

    IRQ_CONNECT(TIM3_IRQN, 1, tim3_capture_isr, NULL, 0);
    irq_enable(TIM3_IRQN);

    LOG_INF("RPM: TIM3 CH3 input capture inicializado (PB0)");
    return 0;
}

/**
 * @brief Thread (hardware): a cada janela, lê e zera o contador de pulsos e
 * publica o RPM. Nunca retorna.
 * @param p1, p2, p3 não usados (assinatura exigida por k_thread_create)
 */
static void rpm_thread_fn(void *p1, void *p2, void *p3)
{
    ARG_UNUSED(p1); ARG_UNUSED(p2); ARG_UNUSED(p3);
    LOG_INF("RPM: thread iniciada");
    while (1) {
        atomic_clear(&pulse_count);
        k_sleep(K_MSEC(SPMM_RPM_SAMPLE_MS));
        rpm_publish((uint32_t)atomic_get(&pulse_count));
    }
}

#else /* CONFIG_ARCH_POSIX — synthetic: omega persegue o throttle */

#define RPM_SIM_MAX_RPM   9000.0f   /* @ throttle 2000us (arbitrario)         */
#define RPM_SIM_LAG       0.15f     /* fracao do erro corrigida por amostra   */

/** @brief native_sim: stub (não há TIM3 real). @return sempre 0. */
int rpm_init(void)
{
    LOG_INF("RPM: modo synthetic (native_sim) — sem TIM3");
    return 0;
}

/**
 * @brief Thread (native_sim): persegue o throttle do ESC com atraso de 1ª
 * ordem (inclui coast-down). Nunca retorna.
 * @param p1, p2, p3 não usados (assinatura exigida por k_thread_create)
 */
static void rpm_thread_fn(void *p1, void *p2, void *p3)
{
    ARG_UNUSED(p1); ARG_UNUSED(p2); ARG_UNUSED(p3);
    LOG_INF("RPM: thread synthetic iniciada");
    float rpm = 0.0f;
    while (1) {
        k_sleep(K_MSEC(SPMM_RPM_SAMPLE_MS));
        uint32_t us = esc_get_throttle_us();
        float frac = 0.0f;
        if (us > SPMM_ESC_MIN_US) {
            frac = (float)(us - SPMM_ESC_MIN_US) /
                   (float)(SPMM_ESC_MAX_US - SPMM_ESC_MIN_US);
        }
        float target = frac * RPM_SIM_MAX_RPM;
        rpm += (target - rpm) * RPM_SIM_LAG;   /* 1a ordem (inclui coast-down) */
        atomic_set(&rpm_milli, (atomic_val_t)(rpm * 1000.0f));
    }
}
#endif /* CONFIG_ARCH_POSIX */

/** @brief Cria a thread de medição de RPM (prioridade média). */
void rpm_start(void)
{
    k_thread_create(&rpm_thread, rpm_stack, RPM_STACK_SIZE,
                    rpm_thread_fn, NULL, NULL, NULL,
                    RPM_PRIORITY, 0, K_NO_WAIT);
    k_thread_name_set(&rpm_thread, "rpm");
}
```

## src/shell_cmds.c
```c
/**
 * @file shell_cmds.c
 * @brief Shell de bancada (Telnet) — comandos customizados do SPMM.
 *
 * Registrados via SHELL_CMD_ARG_REGISTER:
 *   arm | disarm            sequencia de armar/desarmar o ESC
 *   throttle <us>           define o PWM do ESC (1000=parado .. 2000=max)
 *   ramp <us> <s>           rampa suave de throttle (evita degrau no ESC)
 *   rpm                     le rotacao atual
 *   iq                      le Iq medio atual
 *   read                    dump completo: rpm, omega, Id/Iq, Te, fases
 *   patamar <us> <s>        vai ao throttle, espera estabilizar, grava ponto
 *   coast                   corta throttle -> dispara coast-down (ensaio J)
 *   log start <hz> | stop   streaming binario (n, omega, Te, ...) por UDP
 */
#include "spmm.h"
#include <zephyr/kernel.h>
#include <zephyr/shell/shell.h>
#include <stdlib.h>

/** @brief "arm" — arma o ESC (bloqueia ~2s). @param sh shell
 * @param argc, argv não usados @return sempre 0 */
static int cmd_arm(const struct shell *sh, size_t argc, char **argv)
{
    ARG_UNUSED(argc); ARG_UNUSED(argv);
    shell_print(sh, "arm: armando ESC (aguarde ~2s)...");
    esc_arm();
    shell_print(sh, "arm: ok");
    return 0;
}

/** @brief "disarm" — desarma o ESC. @param sh shell
 * @param argc, argv não usados @return sempre 0 */
static int cmd_disarm(const struct shell *sh, size_t argc, char **argv)
{
    ARG_UNUSED(argc); ARG_UNUSED(argv);
    esc_disarm();
    shell_print(sh, "disarm: ok");
    return 0;
}

/** @brief "throttle <us>" — define o PWM do ESC. @param sh shell
 * @param argc não usado @param argv argv[1]=us @return 0 ou -EPERM se
 * não armado */
static int cmd_throttle(const struct shell *sh, size_t argc, char **argv)
{
    int us = atoi(argv[1]);
    int r = esc_set_throttle_us((uint32_t)us);
    if (r == -EPERM) {
        shell_error(sh, "throttle: ESC nao armado (use 'arm')");
        return -EPERM;
    }
    shell_print(sh, "throttle = %d us", esc_get_throttle_us());
    return 0;
}

/** @brief "ramp <us> <s>" — rampa suave de throttle. @param sh shell
 * @param argc não usado @param argv argv[1]=us, argv[2]=segundos
 * @return 0 ou -EPERM se não armado */
static int cmd_ramp(const struct shell *sh, size_t argc, char **argv)
{
    int us   = atoi(argv[1]);
    int secs = atoi(argv[2]);
    shell_print(sh, "ramp: %d us em %d s ...", us, secs);
    int r = esc_ramp_us((uint32_t)us, (uint32_t)secs);
    if (r == -EPERM) {
        shell_error(sh, "ramp: ESC nao armado (use 'arm')");
        return -EPERM;
    }
    shell_print(sh, "ramp: ok, throttle = %d us", esc_get_throttle_us());
    return 0;
}

/** @brief "rpm" — imprime rotação e velocidade angular atuais.
 * @param sh shell @param argc, argv não usados @return sempre 0 */
static int cmd_rpm(const struct shell *sh, size_t argc, char **argv)
{
    ARG_UNUSED(argc); ARG_UNUSED(argv);
    shell_print(sh, "rpm=%.1f  omega=%.3f rad/s", (double)spmm_get_rpm(),
                (double)spmm_get_omega());
    return 0;
}

/** @brief "iq" — imprime a corrente de torque média filtrada.
 * @param sh shell @param argc, argv não usados @return sempre 0 */
static int cmd_iq(const struct shell *sh, size_t argc, char **argv)
{
    ARG_UNUSED(argc); ARG_UNUSED(argv);
    shell_print(sh, "iq=%.4f A", (double)spmm_get_iq());
    return 0;
}

/** @brief "read" — dump completo: rpm, omega, Te, Iq, Id, theta_e e as 6
 * fases. @param sh shell @param argc, argv não usados @return sempre 0 */
static int cmd_read(const struct shell *sh, size_t argc, char **argv)
{
    ARG_UNUSED(argc); ARG_UNUSED(argv);
    spmm_meas_t m;
    spmm_get_meas(&m);
    /* Linha chave/valor (parseavel pelo script Python: parse_kv) */
    shell_print(sh, "rpm=%.1f omega=%.3f te=%.5f iq=%.4f id=%.4f theta_e=%.3f",
                (double)spmm_get_rpm(), (double)spmm_get_omega(),
                (double)spmm_get_te(), (double)m.iq, (double)m.id,
                (double)m.theta_e);
    shell_print(sh, "ia=%.4f ib=%.4f ic=%.4f va=%.3f vb=%.3f vc=%.3f",
                (double)m.ia, (double)m.ib, (double)m.ic,
                (double)m.va, (double)m.vb, (double)m.vc);
    return 0;
}

/** @brief "patamar <us> <s>" — aplica throttle, espera estabilizar e
 * imprime o ponto de regime (ω, Te) pro ensaio B/τc.
 * @param sh shell @param argc não usado @param argv argv[1]=us, argv[2]=segundos
 * @return 0 ou -EPERM se não armado */
static int cmd_patamar(const struct shell *sh, size_t argc, char **argv)
{
    int us   = atoi(argv[1]);
    int secs = atoi(argv[2]);
    int r = esc_set_throttle_us((uint32_t)us);
    if (r == -EPERM) {
        shell_error(sh, "patamar: ESC nao armado (use 'arm')");
        return -EPERM;
    }
    shell_print(sh, "patamar: throttle=%d us, estabilizando %d s...", us, secs);
    k_sleep(K_SECONDS(secs));
    /* Ponto de regime permanente (dw/dt=0): (omega, Te) -> regressao no PC */
    shell_print(sh, "patamar rpm=%.1f omega=%.3f te=%.5f iq=%.4f",
                (double)spmm_get_rpm(), (double)spmm_get_omega(),
                (double)spmm_get_te(), (double)spmm_get_iq());
    return 0;
}

/** @brief "coast" — corta o throttle (mínimo) pra disparar o coast-down
 * (ensaio J); o log ativo captura omega(t) do decaimento.
 * @param sh shell @param argc, argv não usados @return sempre 0 */
static int cmd_coast(const struct shell *sh, size_t argc, char **argv)
{
    ARG_UNUSED(argc); ARG_UNUSED(argv);
    esc_set_throttle_us(SPMM_ESC_MIN_US);
    shell_print(sh, "coast: throttle cortado (%u us) — capturando omega(t)",
                SPMM_ESC_MIN_US);
    return 0;
}

/** @brief "log start <hz> | log stop" — controla o streaming UDP.
 * @param sh shell @param argc número de argumentos
 * @param argv argv[1]="start"/"stop", argv[2]=hz (se start)
 * @return 0 em sucesso, -EINVAL em uso inválido */
static int cmd_log(const struct shell *sh, size_t argc, char **argv)
{
    if (strcmp(argv[1], "start") == 0) {
        if (argc < 3) { shell_error(sh, "uso: log start <hz>"); return -EINVAL; }
        uint32_t hz = (uint32_t)atoi(argv[2]);
        telemetry_start_log(hz);
        shell_print(sh, "log: start @ %u Hz", hz);
    } else if (strcmp(argv[1], "stop") == 0) {
        telemetry_stop_log();
        shell_print(sh, "log: stop");
    } else {
        shell_error(sh, "uso: log start <hz> | log stop");
        return -EINVAL;
    }
    return 0;
}

/* argc minimo inclui o proprio comando: throttle exige 2, ramp/patamar 3 */
SHELL_CMD_ARG_REGISTER(arm,      NULL, "Arma o ESC",                       cmd_arm,      1, 0);
SHELL_CMD_ARG_REGISTER(disarm,   NULL, "Desarma o ESC",                    cmd_disarm,   1, 0);
SHELL_CMD_ARG_REGISTER(throttle, NULL, "throttle <us> (1000-2000)",        cmd_throttle, 2, 0);
SHELL_CMD_ARG_REGISTER(ramp,     NULL, "ramp <us> <s>: rampa suave",       cmd_ramp,     3, 0);
SHELL_CMD_ARG_REGISTER(rpm,      NULL, "Le rotacao atual",                 cmd_rpm,      1, 0);
SHELL_CMD_ARG_REGISTER(iq,       NULL, "Le Iq medio atual",                cmd_iq,       1, 0);
SHELL_CMD_ARG_REGISTER(read,     NULL, "Dump: rpm, omega, Te, Iq, fases",  cmd_read,     1, 0);
SHELL_CMD_ARG_REGISTER(patamar,  NULL, "patamar <us> <s>: ponto B/tc",     cmd_patamar,  3, 0);
SHELL_CMD_ARG_REGISTER(coast,    NULL, "Corta throttle -> coast-down (J)", cmd_coast,    1, 0);
SHELL_CMD_ARG_REGISTER(log,      NULL, "log start <hz> | log stop",        cmd_log,      2, 1);
```
